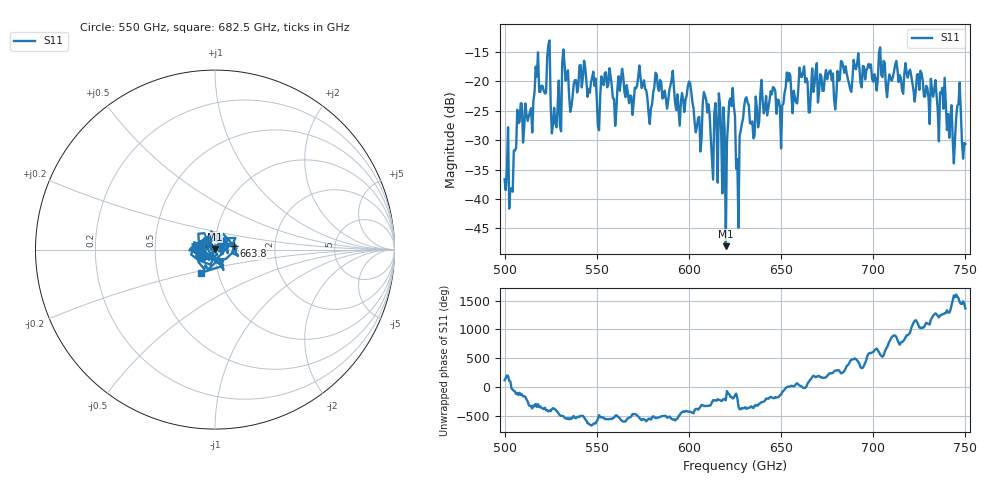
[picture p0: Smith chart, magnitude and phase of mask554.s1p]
!Created with skrf (http://scikit-rf.org).
# GHz S MA R 50.0
!freq magS11 angS11
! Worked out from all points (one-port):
!   401 points, 500 GHz to 750 GHz, reference 50 ohm
!   lowest |S11| = -48.0 dB at 620 GHz (marker M1), VSWR 1.01, Z = 49.7 + j0.288 ohm
!   |S11| at or under -10 dB: start of sweep to end of sweep
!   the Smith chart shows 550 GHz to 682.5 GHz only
!   S11 on the Smith chart (normalised r, x): 550 GHz: 0.91, +0.10; 663.8 GHz: 1.23, +0.05; 682.5 GHz: 0.83, -0.22
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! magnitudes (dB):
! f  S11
! 500 GHz  -36.6
! 503.8 GHz  -38.3
! 508.1 GHz  -26.9
! 513.8 GHz  -25.1
! 516.9 GHz  -17.5
! 523.8 GHz  -13.8
! 526.9 GHz  -24.5
! 531.2 GHz  -16.9
! 550 GHz  -22.8
! 562.5 GHz  -21.6
! 593.8 GHz  -22.2
! 605.6 GHz  -26.0
! 609.4 GHz  -23.1
! 620 GHz  -48.0
! 623.1 GHz  -24.2
! 625 GHz  -25.9
! 626.9 GHz  -44.9
! 631.2 GHz  -22.7
! 634.4 GHz  -26.8
! 656.2 GHz  -25.4
! 663.8 GHz  -19.5
! 682.5 GHz  -16.5
! 687.5 GHz  -21.4
! 718.8 GHz  -19.4
! 737.5 GHz  -21.1
! 742.5 GHz  -24.0
! 746.2 GHz  -23.8
! 750 GHz  -30.6
